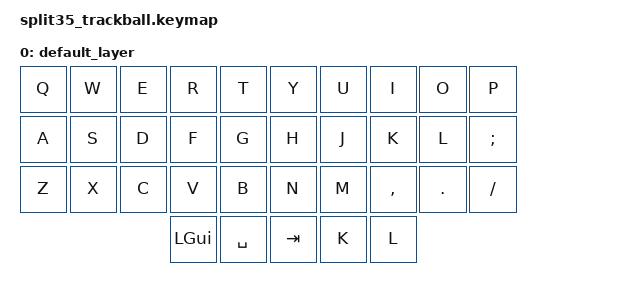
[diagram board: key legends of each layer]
#include <behaviors.dtsi>
#include <dt-bindings/zmk/keys.h>
#include <dt-bindings/zmk/mouse.h>

/ {
    keymap {
        compatible = "zmk,keymap";

        default_layer {
            bindings = <
              &kp Q      &kp W      &kp E      &kp R      &kp T      &kp Y      &kp U      &kp I      &kp O      &kp P
              &kp A      &kp S      &kp D      &kp F      &kp G      &kp H      &kp J      &kp K      &kp L      &kp SEMI
              &kp Z      &kp X      &kp C      &kp V      &kp B      &kp N      &kp M      &kp COMMA  &kp DOT    &kp SLASH
                                               &kp LGUI   &kp SPACE  &kp TAB    &kp K      &kp L

            >;
        };
    };
};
